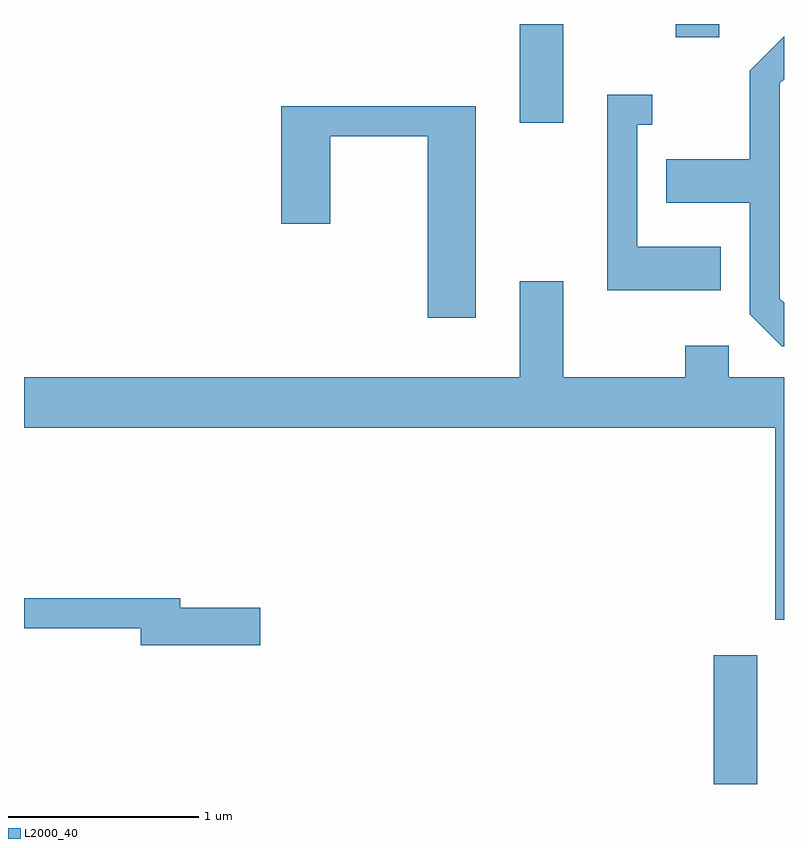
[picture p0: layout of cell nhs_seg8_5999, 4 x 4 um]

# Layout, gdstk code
import gdstk
lib = gdstk.Library(unit=1e-6, precision=1e-09)
def R(c, l, rs):  # rectangles x0, y0, x1, y1
    for r in rs: c.add(gdstk.rectangle(r[:2], r[2:], *l))
def P(c, l, *ps):  # polygons
    for p in ps: c.add(gdstk.Polygon(p, *l))
L2000_40 = (2000, 40)

nhs_seg8_5999 = lib.new_cell('nhs_seg8_5999')
R(nhs_seg8_5999, L2000_40, [(369.241,1812.342,369.469,1813.019), (368.221,1815.821,368.449,1816.342), (369.041,1816.271,369.269,1816.342)])
P(nhs_seg8_5999, L2000_40, [(369.611,1814.875),(369.589,1814.897),(369.589,1816.029),(369.611,1816.051),(369.611,1816.274),(369.609,1816.274),(369.431,1816.097),(369.431,1815.629),(368.991,1815.629),(368.991,1815.401),(369.431,1815.401),(369.431,1814.814),(369.599,1814.646),(369.611,1814.646)],
  [(369.279,1815.169),(368.839,1815.169),(368.839,1815.811),(368.918,1815.811),(368.918,1815.969),(368.681,1815.969),(368.681,1814.941),(369.279,1814.941)],
  [(367.989,1815.909),(366.966,1815.909),(366.966,1815.291),(367.224,1815.291),(367.224,1815.751),(367.736,1815.751),(367.736,1814.796),(367.989,1814.796)],
  [(369.611,1814.484),(369.319,1814.484),(369.319,1814.649),(369.091,1814.649),(369.091,1814.484),(368.449,1814.484),(368.449,1814.989),(368.221,1814.989),(368.221,1814.484),(365.611,1814.484),(365.611,1814.216),(369.566,1814.216),(369.566,1813.206),(369.611,1813.206)],
  [(366.854,1813.269),(366.434,1813.269),(366.434,1813.319),(365.611,1813.319),(365.611,1813.161),(366.226,1813.161),(366.226,1813.071),(366.854,1813.071)])

lib.write_gds('nhs_seg8_5999.gds')
